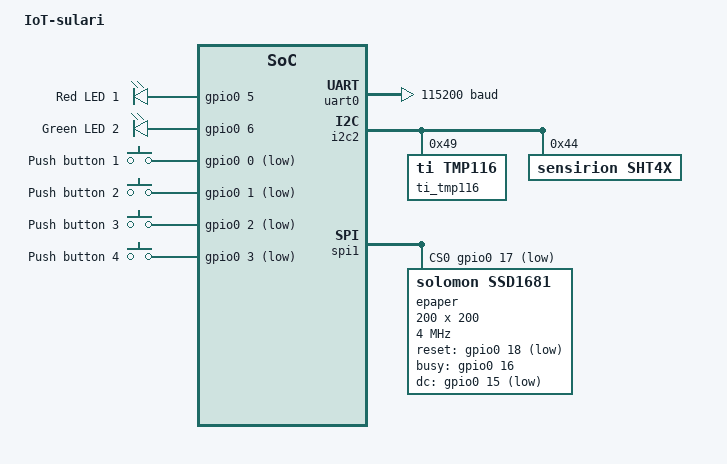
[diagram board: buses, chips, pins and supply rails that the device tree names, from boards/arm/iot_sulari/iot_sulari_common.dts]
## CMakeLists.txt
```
# SPDX-License-Identifier: Apache-2.0

cmake_minimum_required(VERSION 3.20.0)
find_package(Zephyr REQUIRED HINTS $ENV{ZEPHYR_BASE})
project(IoT_Sulari)

zephyr_include_directories(include)

target_sources(app PRIVATE src/main.c)
target_sources(app PRIVATE src/sensors.c)
target_sources(app PRIVATE src/buttons.c)
target_sources(app PRIVATE src/lte.c)
target_sources(app PRIVATE src/mqtt_connection.c)
target_sources(app PRIVATE src/sms_wrapper.c)
```

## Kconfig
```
source "Kconfig.zephyr"

menu "IoT-Sulari"
rsource "drivers/Kconfig"

config MQTT_PUB_TOPIC
    string "MQTT publish topic"
    default "devacademy/publish/topic"

config MQTT_SUB_TOPIC
    string "MQTT subscribe topic"
    default "devacademy/subscribe/topic"

config MQTT_CLIENT_ID
    string "MQTT Client ID"
    help
      Use a custom Client ID string. If not set, the client ID will be
      generated based on IMEI number (for nRF9160 based targets) or
      randomly (for other platforms).
    default ""

config MQTT_BROKER_HOSTNAME
    string "MQTT broker hostname"
    default "test.mosquitto.org"

config MQTT_BROKER_PORT
    int "MQTT broker port"
    default 1883

config MQTT_MESSAGE_BUFFER_SIZE
    int "MQTT message buffer size"
    default 128

config MQTT_PAYLOAD_BUFFER_SIZE
    int "MQTT payload buffer size"
    default 128

config BUTTON_EVENT_PUBLISH_MSG
    string "The message to publish on a button event"
    default "Hi from the nRF9160 SiP"

config MQTT_RECONNECT_DELAY_S
    int "Seconds to delay before attempting to reconnect to the broker."
    default 60

config SMS_RECEIVER_NUMBER
    string "Phone number in international format where the SMS message is sent"
    default ""
endmenu
```

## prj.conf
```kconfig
CONFIG_GPIO=y

CONFIG_SERIAL=y

# I2C and Sensors
CONFIG_I2C=y
CONFIG_SENSOR=y
CONFIG_CBPRINTF_FP_SUPPORT=y
CONFIG_CBPRINTF_LIBC_SUBSTS=y

# Display
CONFIG_SPI=y
CONFIG_DISPLAY=y
CONFIG_SSD16XX=y
CONFIG_DISPLAY_LOG_LEVEL_DBG=y

# LVGL
CONFIG_LVGL=y
CONFIG_LV_USE_LOG=y
CONFIG_LV_USE_LABEL=y
CONFIG_LV_USE_BTN=y
CONFIG_LV_FONT_MONTSERRAT_14=y
CONFIG_LV_Z_VDB_SIZE=64
CONFIG_LV_COLOR_DEPTH_1=y

# Logging
CONFIG_LOG=y

# Network
CONFIG_NETWORKING=y
CONFIG_NET_NATIVE=n
CONFIG_NET_SOCKETS=y
CONFIG_NET_SOCKETS_OFFLOAD=y
CONFIG_NET_SOCKETS_POSIX_NAMES=y

# Memory
CONFIG_HEAP_MEM_POOL_SIZE=4096
CONFIG_MAIN_STACK_SIZE=8192

# Modem library
CONFIG_NRF_MODEM_LIB=y
CONFIG_NRF_MODEM_LIB_TRACE=n

# LTE link control
CONFIG_LTE_LINK_CONTROL=y

# AT commands interface
CONFIG_AT_HOST_LIBRARY=y
CONFIG_UART_INTERRUPT_DRIVEN=y

# MQTT
CONFIG_MQTT_LIB=y
CONFIG_MQTT_CLEAN_SESSION=y

# MQTT Application information
CONFIG_MQTT_PUB_TOPIC="iot-sulari/publish/sensor-values"
CONFIG_MQTT_SUB_TOPIC="iot-sulari/subscribe/test"
CONFIG_MQTT_BROKER_HOSTNAME="test.mosquitto.org"
CONFIG_MQTT_BROKER_PORT=1883

# Debug options
CONFIG_DEBUG_OPTIMIZATIONS=y
CONFIG_DEBUG_THREAD_INFO=y
CONFIG_SPI_LOG_LEVEL_INF=y

# SMS
CONFIG_SMS=y
CONFIG_SMS_SUBSCRIBERS_MAX_CNT=1
CONFIG_SMS_RECEIVER_NUMBER="358400217146"
```

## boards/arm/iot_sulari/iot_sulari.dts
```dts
// Copyright (c) 2023 Nordic Semiconductor ASA
// SPDX-License-Identifier: Apache-2.0

/dts-v1/;
#include <nordic/nrf9160ns_sica.dtsi>
#include "iot_sulari_common.dts"

/ {
	chosen {
		zephyr,sram = &sram0;
		zephyr,flash = &flash0;
		zephyr,code-partition = &slot0_ns_partition;
	};
};

&flash0 {
	partitions {
		compatible = "fixed-partitions";
		#address-cells = <1>;
		#size-cells = <1>;

		boot_partition: partition@0 {
			label = "mcuboot";
			reg = <0x0 0x10000>;
		};
		slot0_partition: partition@10000 {
			label = "image-0";
			reg = <0x10000 0x40000>;
		};
		slot0_ns_partition: partition@50000 {
			label = "image-0-nonsecure";
			reg = <0x50000 0x30000>;
		};
		slot1_partition: partition@80000 {
			label = "image-1";
			reg = <0x80000 0x40000>;
		};
		slot1_ns_partition: partition@c0000 {
			label = "image-1-nonsecure";
			reg = <0xc0000 0x30000>;
		};
		scratch_partition: partition@f0000 {
			label = "image-scratch";
			reg = <0xf0000 0xa000>;
		};
		storage_partition: partition@fa000 {
			label = "storage";
			reg = <0xfa000 0x6000>;
		};
	};
};
```

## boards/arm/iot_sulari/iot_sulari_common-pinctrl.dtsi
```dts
/*
 * Copyright (c) 2022 Nordic Semiconductor
 * SPDX-License-Identifier: Apache-2.0
 */

&pinctrl {
	uart0_default: uart0_default {
		group1 {
			psels = <NRF_PSEL(UART_TX, 0, 10)>,
				<NRF_PSEL(UART_RTS, 0, 8)>;
		};
		group2 {
			psels = <NRF_PSEL(UART_RX, 0, 9)>,
				<NRF_PSEL(UART_CTS, 0, 11)>;
			bias-pull-up;
		};
	};

	uart0_sleep: uart0_sleep {
		group1 {
			psels = <NRF_PSEL(UART_TX, 0, 10)>,
				<NRF_PSEL(UART_RX, 0, 9)>,
				<NRF_PSEL(UART_RTS, 0, 8)>,
				<NRF_PSEL(UART_CTS, 0, 11)>;
			low-power-enable;
		};
	};

	i2c2_default: i2c2_default {
		group1 {
			psels = <NRF_PSEL(TWIM_SDA, 0, 27)>,
				<NRF_PSEL(TWIM_SCL, 0, 28)>;
		};
	};

	i2c2_sleep: i2c2_sleep {
		group1 {
			psels = <NRF_PSEL(TWIM_SDA, 0, 27)>,
				<NRF_PSEL(TWIM_SCL, 0, 28)>;
			low-power-enable;
		};
	};

	spi1_default: spi1_default {
        group1 {
            psels = <NRF_PSEL(SPIM_SCK, 0, 14)>,
                    <NRF_PSEL(SPIM_MOSI, 0, 13)>;
        };
    };

    spi1_sleep: spi1_sleep {
        group1 {
            psels = <NRF_PSEL(SPIM_SCK, 0, 14)>,
                    <NRF_PSEL(SPIM_MOSI, 0, 13)>;
            low-power-enable;
      };
    };
};
```

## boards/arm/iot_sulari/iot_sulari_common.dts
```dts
// Copyright (c) 2023 Nordic Semiconductor ASA
// SPDX-License-Identifier: Apache-2.0

 #include "iot_sulari_common-pinctrl.dtsi"

/ {
    model = "IoT-sulari";
    compatible = "vjr-oy,iot-sulari";

    chosen {
        zephyr,console = &uart0;
        zephyr,shell-uart = &uart0;
        zephyr,uart-mcumgr = &uart0;
        zephyr,display = &epaper;
    };

    leds {
        compatible = "gpio-leds";
        led0: led_0 {
            gpios = <&gpio0 5 0>;
            label = "Red LED 1";
        };
        led1: led_1 {
            gpios = <&gpio0 6 0>;
            label = "Green LED 2";
        };
    };

    buttons {
        compatible = "gpio-keys";
        button0: button_0 {
            gpios = <&gpio0 0 (GPIO_PULL_UP | GPIO_ACTIVE_LOW)>;
            label = "Push button 1";
        };
        button1: button_1 {
            gpios = <&gpio0 1 (GPIO_PULL_UP | GPIO_ACTIVE_LOW)>;
            label = "Push button 2";
        };
        button2: button_2 {
            gpios = <&gpio0 2 (GPIO_PULL_UP | GPIO_ACTIVE_LOW)>;
            label = "Push button 3";
        };
        button3: button_3 {
            gpios = <&gpio0 3 (GPIO_PULL_UP | GPIO_ACTIVE_LOW)>;
            label = "Push button 4";
        };
    };

    /* These aliases are provided for compatibility with samples */
    aliases {
        led0 = &led0;
        led1 = &led1;
        sw0 = &button0;
        sw1 = &button1;
        sw2 = &button2;
        sw3 = &button3;
        bootloader-led0 = &led0;
        mcuboot-button0 = &button0;
        mcuboot-led0 = &led0;
    };
};

&gpiote {
    status= "okay";
};

&gpio0 {
    status = "okay";
};

&uart0 {
    status = "okay";
    current-speed = <115200>;
    pinctrl-0 = <&uart0_default>;
    pinctrl-1 = <&uart0_sleep>;
    pinctrl-names = "default", "sleep";
};

&i2c2 {
    compatible = "nordic,nrf-twim";
    status = "okay";
    pinctrl-0 = <&i2c2_default>;
    pinctrl-1 = <&i2c2_sleep>;
    pinctrl-names = "default", "sleep";

    ti_tmp116: ti_tmp116@49 {
        compatible = "ti,tmp116";
        reg = <0x49>;
        #address-cells = <1>;
        #size-cells = <0>;

        eeprom: ti_tmp116_eeprom@0{
            compatible = "ti,tmp116-eeprom";
            reg = <0x0>;
            read-only;
        };
    };

    sht4x@44 {
        status= "okay";
        compatible = "sensirion,sht4x";
        reg = <0x44>;
        repeatability = <2>;
    };
};

&spi1 {
    compatible = "nordic,nrf-spim";
    status = "okay";
    pinctrl-0 = <&spi1_default>;
    pinctrl-1 = <&spi1_sleep>;
    pinctrl-names = "default", "sleep";
    cs-gpios = <&gpio0 17 (GPIO_ACTIVE_LOW | GPIO_PULL_UP)>;

    epaper: ssd16xxfb@0{
        compatible ="solomon,ssd1681";
        spi-max-frequency = < 4000000 >;
        status = "okay";
        reg = <0>;
        width = <200>;
        height = <200>;
        reset-gpios = <&gpio0 18 (GPIO_ACTIVE_LOW | GPIO_PULL_UP)>;
        busy-gpios = <&gpio0 16 (GPIO_ACTIVE_HIGH | GPIO_PULL_UP)>;
        dc-gpios = <&gpio0 15 (GPIO_ACTIVE_LOW | GPIO_PULL_UP)>;

        tssv = <0x80>;
/*
        full {
            border-waveform = <0x05>;
        };

        partial {
            border-waveform = <0x3c>;
        };
        */
    };
};
```

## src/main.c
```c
#include <stdio.h>
#include <string.h>

#include <zephyr/kernel.h>
#include <zephyr/logging/log.h>
#include <zephyr/net/socket.h>
#include <zephyr/net/mqtt.h>

#include <lvgl.h>
#include <zephyr/drivers/display.h>

#include "sensors.h"
#include "buttons.h"
#include "lte.h"
#include "mqtt_connection.h"
#include "sms_wrapper.h"

#define TEMP_LIMIT                  30.0

#define SENSOR_THREAD_PRIORITY      7
#define COMM_THREAD_PRIORITY        9
#define DISPLAY_THREAD_PRIORITY     8

#define SENSOR_THREAD_STACKSIZE     (1024 * 2)
#define COMM_THREAD_STACKSIZE       (1024 * 2)
#define DISPLAY_THREAD_STACKSIZE    (1024 * 4)

#define SENSOR_THREAD_SLEEP_MS      (1000*5)
#define COMM_THREAD_SLEEP_MS        (1000*30)
#define DISPLAY_THREAD_SLEEP_MS     (1000*5)


// Thread declarations
int sensor_thread(void);
int comm_thread(void);
int display_thread(void);

K_THREAD_DEFINE(sensor_thread_id, SENSOR_THREAD_STACKSIZE, sensor_thread,
                NULL, NULL, NULL, SENSOR_THREAD_PRIORITY, 0, 0);
K_THREAD_DEFINE(comm_thread_id, COMM_THREAD_STACKSIZE, comm_thread,
                NULL, NULL, NULL, COMM_THREAD_PRIORITY, 0, 10000);
K_THREAD_DEFINE(display_thread_id, DISPLAY_THREAD_STACKSIZE, display_thread,
                NULL, NULL, NULL, DISPLAY_THREAD_PRIORITY, 0, 0);

LOG_MODULE_REGISTER(MAIN, LOG_LEVEL_DBG);

static struct mqtt_client mqtt_client;
static struct pollfd fds;

double temp, humidity;

int sensor_thread(void)
{
    LOG_INF("Sensor thread started");
    sensors_init();

    while(true)
    {
        temp = get_temperature();
        humidity = get_humidity();

        if (temp > TEMP_LIMIT) 
        {
            sms_send_temp_alert(temp);
            k_msleep(SENSOR_THREAD_SLEEP_MS*20);
        }

        k_msleep(SENSOR_THREAD_SLEEP_MS);
    }
}

int comm_thread(void)
{
    LOG_INF("Communications thread started");

    int err;
    uint32_t connect_attempt = 0;
    char mqtt_msg[31];

    if (lte_modem_configure())
    {
        LOG_ERR("Failed to configure modem");
        return 0;
    }

    if (sms_init())
    {
        LOG_ERR("Initializing SMS failed");
    }

    if (mqtt_client_init_wrapper(&mqtt_client))
    {
        LOG_ERR("Failed to initialize MQTT client");
        return 0;
    }

do_connect:
    if (connect_attempt++ > 0)
    {
        LOG_INF("Reconnecting in %d seconds..", CONFIG_MQTT_RECONNECT_DELAY_S);
        k_sleep(K_SECONDS(CONFIG_MQTT_RECONNECT_DELAY_S));
    }

    if (mqtt_connect(&mqtt_client))
    {
        LOG_ERR("Error in mqtt_connect");
        goto do_connect;
    }

    // Used by MQTT polling
    if (mqtt_fds_init(&mqtt_client, &fds))
    {
        LOG_ERR("Error in fds_init.");
        return 0;
    }

    while(true)
    {

        // Format MQTT message and show it
        snprintfcb(mqtt_msg, sizeof(mqtt_msg), 
                   "Temp: %.2fC, Humidity: %.2f%%", temp, humidity);

        LOG_INF("%s", mqtt_msg);

        // MQTT related things to have connection alive and 
        // poll for received MQTT messages
        err = poll(&fds, 1, mqtt_keepalive_time_left(&mqtt_client));
        if (err < 0) {
            LOG_ERR("Error in poll(): %d", errno);
            break;
        }

        err = mqtt_live(&mqtt_client);
        if ((err != 0) && (err != -EAGAIN)) {
            LOG_ERR("Error in mqtt_live: %d", err);
            break;
        }

        if ((fds.revents & POLLIN) == POLLIN) {
            err = mqtt_input(&mqtt_client);
            if (err != 0) {
                LOG_ERR("Error in mqtt_input: %d", err);
                break;
            }
        }

        if ((fds.revents & POLLERR) == POLLERR) {
            LOG_ERR("POLLERR");
            break;
        }

        if ((fds.revents & POLLNVAL) == POLLNVAL) {
            LOG_ERR("POLLNVAL");
            break;
        }

        // Send the sensor data to MQTT broker
        if (mqtt_data_publish(&mqtt_client, MQTT_QOS_1_AT_LEAST_ONCE,
                              mqtt_msg, sizeof(mqtt_msg)))
        {
            LOG_ERR("Failed to send MQTT message");
        }

        k_msleep(COMM_THREAD_SLEEP_MS);

    }

    LOG_INF("Disconnecting MQTT client");

    err = mqtt_disconnect(&mqtt_client);
    if (err) {
        LOG_ERR("Could not disconnect MQTT client: %d", err);
    }
    goto do_connect;
}

int display_thread(void)
{
    LOG_INF("Display thread started");

    const struct device *display_dev;
    lv_obj_t *hello_world_label;
    lv_obj_t *measurement_label;

    char count_str[19] = {0};

    display_dev = DEVICE_DT_GET(DT_CHOSEN(zephyr_display));
    if (!device_is_ready(display_dev))
    {
        LOG_ERR("Display not ready");
    }

    hello_world_label = lv_label_create(lv_scr_act());
    measurement_label = lv_label_create(lv_scr_act());

    lv_label_set_text(hello_world_label, "IoT sulari");
    lv_label_set_text(measurement_label, "");

    lv_obj_align(hello_world_label, LV_ALIGN_TOP_MID, 0, 0);
    lv_obj_align(measurement_label, LV_ALIGN_CENTER, 0, 0);

    lv_task_handler();
    display_blanking_off(display_dev);

    while(true)
    {

        sprintf(count_str, "%.02f°C   %.02f%%", temp, humidity);
        lv_label_set_text(measurement_label, count_str);

        lv_task_handler();

        k_msleep(DISPLAY_THREAD_SLEEP_MS);
    }
}

int main(void)
{
    /* Initialize IRS things */
    buttons_init();
    return 0;
}
```

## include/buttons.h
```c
#ifndef _BUTTONS_H_
#define _BUTTONS_H_

/* Functions */
void buttons_init();

#endif //_BUTTONS_H_
```

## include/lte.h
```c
#ifndef _LTE_H_
#define _LTE_H_

int lte_modem_configure();

#endif // _LTE_H_
```

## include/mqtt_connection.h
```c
#ifndef _MQTTCONNECTION_H_
#define _MQTTCONNECTION_H_
#define IMEI_LEN 15
#define CGSN_RESPONSE_LENGTH (IMEI_LEN + 6 + 1) /* Add 6 for \r\nOK\r\n and 1 for \0 */
#define CLIENT_ID_LEN sizeof("nrf-") + IMEI_LEN

/**@brief Initialize the MQTT client structure
 */
int mqtt_client_init_wrapper(struct mqtt_client *client);

/**@brief Initialize the file descriptor structure used by poll.
 */
int mqtt_fds_init(struct mqtt_client *c, struct pollfd *fds);

/**@brief Function to publish data on the configured topic
 */
int mqtt_data_publish(struct mqtt_client *c, enum mqtt_qos qos,
	uint8_t *data, size_t len);

#endif /* _CONNECTION_H_ */
```

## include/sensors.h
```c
#ifndef _SENSORS_H_
#define _SENSORS_H_

/* Functions*/
void sensors_init();
double get_temperature();
double get_humidity();

#endif // _SENSORS_H_
```

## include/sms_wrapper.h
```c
#ifndef _SMS_WRAPPER_H_
#define _SMS_WRAPPER_H_

/* Functions */

int sms_init();
int sms_send_temp_alert(double temperature);

#endif // _SMS_WRAPPER_H_
```

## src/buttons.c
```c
#include <zephyr/device.h>
#include <zephyr/devicetree.h>
#include <zephyr/drivers/gpio.h>
#include <zephyr/logging/log.h>

#include "buttons.h"
#include "sms_wrapper.h"
#include "sensors.h"

#define SW0_NODE    DT_ALIAS(sw0)
#define SW1_NODE    DT_ALIAS(sw1)
#define SW2_NODE    DT_ALIAS(sw2)
#define SW3_NODE    DT_ALIAS(sw3)

LOG_MODULE_REGISTER(BUTTONS, LOG_LEVEL_DBG);

static const struct gpio_dt_spec button0 = GPIO_DT_SPEC_GET(SW0_NODE, gpios);
static const struct gpio_dt_spec button1 = GPIO_DT_SPEC_GET(SW1_NODE, gpios);
static const struct gpio_dt_spec button2 = GPIO_DT_SPEC_GET(SW2_NODE, gpios);
static const struct gpio_dt_spec button3 = GPIO_DT_SPEC_GET(SW3_NODE, gpios);

static struct gpio_callback button0_cb_data;
static struct gpio_callback button1_cb_data;
static struct gpio_callback button2_cb_data;
static struct gpio_callback button3_cb_data;

static void button0_cb(const struct device *dev, struct gpio_callback *cb, uint32_t pins)
{
    LOG_INF("Button 0 pressed.");
}

static void button1_cb(const struct device *dev, struct gpio_callback *cb, uint32_t pins)
{
    LOG_INF("Button 1 pressed.");
}

static void button2_cb(const struct device *dev, struct gpio_callback *cb, uint32_t pins)
{
    LOG_INF("Button 2 pressed.");
}

static void button3_cb(const struct device *dev, struct gpio_callback *cb, uint32_t pins)
{
    LOG_INF("Button 3 pressed.");
}

void buttons_init(void)
{
    int ret;

    if (!device_is_ready(button0.port)) {
        return;
    }

    if (!device_is_ready(button1.port)) {
        return;
    }

    if (!device_is_ready(button2.port)) {
        return;
    }

    if (!device_is_ready(button3.port)) {
        return;
    }

    ret = gpio_pin_configure_dt(&button0, GPIO_INPUT);
	if (ret < 0) {
		return;
	}

    ret = gpio_pin_configure_dt(&button1, GPIO_INPUT);
	if (ret < 0) {
		return;
	}

    ret = gpio_pin_configure_dt(&button2, GPIO_INPUT);
	if (ret < 0) {
		return;
	}

    ret = gpio_pin_configure_dt(&button3, GPIO_INPUT);
	if (ret < 0) {
		return;
	}

    ret = gpio_pin_interrupt_configure_dt(&button0, GPIO_INT_EDGE_TO_ACTIVE );
    ret = gpio_pin_interrupt_configure_dt(&button1, GPIO_INT_EDGE_TO_ACTIVE );
    ret = gpio_pin_interrupt_configure_dt(&button2, GPIO_INT_EDGE_TO_ACTIVE );
    ret = gpio_pin_interrupt_configure_dt(&button3, GPIO_INT_EDGE_TO_ACTIVE );

    gpio_init_callback(&button0_cb_data, button0_cb, BIT(button0.pin)); 	
    gpio_init_callback(&button1_cb_data, button1_cb, BIT(button1.pin)); 	
    gpio_init_callback(&button2_cb_data, button2_cb, BIT(button2.pin)); 	
    gpio_init_callback(&button3_cb_data, button3_cb, BIT(button3.pin)); 	

    gpio_add_callback(button0.port, &button0_cb_data);
    gpio_add_callback(button1.port, &button1_cb_data);
    gpio_add_callback(button2.port, &button2_cb_data);
    gpio_add_callback(button3.port, &button3_cb_data);
}
```

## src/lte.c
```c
#include <modem/nrf_modem_lib.h>
#include <modem/lte_lc.h>
#include <zephyr/logging/log.h>

LOG_MODULE_REGISTER(LTE, LOG_LEVEL_DBG);

K_SEM_DEFINE(lte_connected, 0, 1);

/* Private functions */

static void lte_handler(const struct lte_lc_evt *const evt)
{
    switch (evt->type)
    {
    case LTE_LC_EVT_NW_REG_STATUS:
        if ((evt->nw_reg_status != LTE_LC_NW_REG_REGISTERED_HOME) &&
            (evt->nw_reg_status != LTE_LC_NW_REG_REGISTERED_ROAMING))
        {
            break;
        }

        LOG_INF("Network registration status: %s",
            evt->nw_reg_status == LTE_LC_NW_REG_REGISTERED_HOME ? 
            "Connected - Home network" : "Connected - Roaming");
        k_sem_give(&lte_connected);
        break;
    case LTE_LC_EVT_RRC_UPDATE:
        LOG_INF("RRC mode: %s", evt->rrc_mode == LTE_LC_RRC_MODE_CONNECTED ? 
                "Connected" : "Idle");
        break;		
    default:
        break;
    }
}

/* Public functions */

int lte_modem_configure(void)
{
    int err;

    LOG_INF("Initializing modem library");

    err = nrf_modem_lib_init();
    if (err) {
		LOG_ERR("Failed to initialize the modem library, error: %d", err);
		return err;
	}

    LOG_INF("Connecting to LTE network");

	err = lte_lc_connect_async(lte_handler);
	if (err) {
		LOG_ERR("Modem could not be configured, error: %d", err);
		return err;
	}

    k_sem_take(&lte_connected, K_FOREVER);
    LOG_INF("Connected to LTE network");

	return 0;
}
```

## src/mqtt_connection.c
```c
#include <stdio.h>
#include <string.h>

#include <nrf_modem_at.h>
#include <zephyr/kernel.h>
#include <zephyr/random/random.h>
#include <zephyr/net/socket.h>
#include <zephyr/net/mqtt.h>
#include <zephyr/logging/log.h>
#include "mqtt_connection.h"

/* Buffers for MQTT client. */
static uint8_t rx_buffer[CONFIG_MQTT_MESSAGE_BUFFER_SIZE];
static uint8_t tx_buffer[CONFIG_MQTT_MESSAGE_BUFFER_SIZE];
static uint8_t payload_buf[CONFIG_MQTT_PAYLOAD_BUFFER_SIZE];

/* MQTT Broker details. */
static struct sockaddr_storage broker;

LOG_MODULE_REGISTER(MQTT_CONNECTION, LOG_LEVEL_DBG);

/* Private functions */

/**@brief Function to get the payload of recived data.
 */
static int get_received_payload(struct mqtt_client *c, size_t length)
{
    int ret;
    int err = 0;

    /* Return an error if the payload is larger than the payload buffer.
     * Note: To allow new messages, we have to read the payload before returning.
     */
    if (length > sizeof(payload_buf)) {
        err = -EMSGSIZE;
    }

    /* Truncate payload until it fits in the payload buffer. */
    while (length > sizeof(payload_buf)) {
        ret = mqtt_read_publish_payload_blocking(
                c, payload_buf, (length - sizeof(payload_buf)));
        if (ret == 0) {
            return -EIO;
        } else if (ret < 0) {
            return ret;
        }

        length -= ret;
    }

    ret = mqtt_readall_publish_payload(c, payload_buf, length);
    if (ret) {
        return ret;
    }

    return err;
}

/**@brief Function to subscribe to the configured topic
 */
static int subscribe(struct mqtt_client *const c)
{
    struct mqtt_topic subscribe_topic = {
        .topic = {
            .utf8 = CONFIG_MQTT_SUB_TOPIC,
            .size = strlen(CONFIG_MQTT_SUB_TOPIC)
        },
        .qos = MQTT_QOS_1_AT_LEAST_ONCE
    };

    const struct mqtt_subscription_list subscription_list = {
        .list = &subscribe_topic,
        .list_count = 1,
        .message_id = 1234
    };

    LOG_INF("Subscribing to: %s len %u", CONFIG_MQTT_SUB_TOPIC,
        (unsigned int)strlen(CONFIG_MQTT_SUB_TOPIC));

    return mqtt_subscribe(c, &subscription_list);
}

/**@brief Function to print strings without null-termination
 */
static void data_print(uint8_t *prefix, uint8_t *data, size_t len)
{
    char buf[len + 1];

    memcpy(buf, data, len);
    buf[len] = 0;
    LOG_INF("%s%s", (char *)prefix, (char *)buf);
}

/**@brief MQTT client event handler
 */
void mqtt_evt_handler(struct mqtt_client *const c,
              const struct mqtt_evt *evt)
{
    int err;

    switch (evt->type) {
    case MQTT_EVT_CONNACK:
        if (evt->result != 0) {
            LOG_ERR("MQTT connect failed: %d", evt->result);
            break;
        }

        LOG_INF("MQTT client connected");
        subscribe(c);
        break;

    case MQTT_EVT_DISCONNECT:
        LOG_INF("MQTT client disconnected: %d", evt->result);
        break;

    case MQTT_EVT_PUBLISH:
    {
        const struct mqtt_publish_param *p = &evt->param.publish;
        //Print the length of the recived message 
        LOG_INF("MQTT PUBLISH result=%d len=%d",
            evt->result, p->message.payload.len);

        //Extract the data of the recived message 
        err = get_received_payload(c, p->message.payload.len);
        
        //Send acknowledgment to the broker on receiving QoS1 publish message 
        if (p->message.topic.qos == MQTT_QOS_1_AT_LEAST_ONCE) {
            const struct mqtt_puback_param ack = {
                .message_id = p->message_id
            };

            /* Send acknowledgment. */
            mqtt_publish_qos1_ack(c, &ack);
        }

        if (err >= 0) {
            data_print("Received: ", payload_buf, p->message.payload.len);
            /* There could be something more to process */

        // Payload buffer is smaller than the received data 
        } else if (err == -EMSGSIZE) {
            LOG_ERR("Received payload (%d bytes) is larger than the payload buffer size (%d bytes).",
                p->message.payload.len, sizeof(payload_buf));
        // Failed to extract data, disconnect 
        } else {
            LOG_ERR("get_received_payload failed: %d", err);
            LOG_INF("Disconnecting MQTT client...");

            err = mqtt_disconnect(c);
            if (err) {
                LOG_ERR("Could not disconnect: %d", err);
            }
        }
    } break;

    case MQTT_EVT_PUBACK:
        if (evt->result != 0) {
            LOG_ERR("MQTT PUBACK error: %d", evt->result);
            break;
        }

        LOG_INF("PUBACK packet id: %u", evt->param.puback.message_id);
        break;

    case MQTT_EVT_SUBACK:
        if (evt->result != 0) {
            LOG_ERR("MQTT SUBACK error: %d", evt->result);
            break;
        }

        LOG_INF("SUBACK packet id: %u", evt->param.suback.message_id);
        break;

    case MQTT_EVT_PINGRESP:
        if (evt->result != 0) {
            LOG_ERR("MQTT PINGRESP error: %d", evt->result);
        }
        break;

    default:
        LOG_INF("Unhandled MQTT event type: %d", evt->type);
        break;
    }
}

/**@brief Resolves the configured hostname and
 * initializes the MQTT broker structure
 */
static int broker_init(void)
{
    int err;
    struct addrinfo *result;
    struct addrinfo *addr;
    struct addrinfo hints = {
        .ai_family = AF_INET,
        .ai_socktype = SOCK_STREAM
    };

    err = getaddrinfo(CONFIG_MQTT_BROKER_HOSTNAME, NULL, &hints, &result);
    if (err) {
        LOG_ERR("getaddrinfo failed: %d", err);
        return -ECHILD;
    }

    addr = result;

    /* Look for address of the broker. */
    while (addr != NULL) {
        /* IPv4 Address. */
        if (addr->ai_addrlen == sizeof(struct sockaddr_in)) {
            struct sockaddr_in *broker4 =
                ((struct sockaddr_in *)&broker);
            char ipv4_addr[NET_IPV4_ADDR_LEN];

            broker4->sin_addr.s_addr =
                ((struct sockaddr_in *)addr->ai_addr)
                ->sin_addr.s_addr;
            broker4->sin_family = AF_INET;
            broker4->sin_port = htons(CONFIG_MQTT_BROKER_PORT);

            inet_ntop(AF_INET, &broker4->sin_addr.s_addr,
                  ipv4_addr, sizeof(ipv4_addr));
            LOG_INF("IPv4 Address found %s", (char *)(ipv4_addr));

            break;
        } else {
            LOG_ERR("ai_addrlen = %u should be %u or %u",
                (unsigned int)addr->ai_addrlen,
                (unsigned int)sizeof(struct sockaddr_in),
                (unsigned int)sizeof(struct sockaddr_in6));
        }

        addr = addr->ai_next;
    }

    /* Free the address. */
    freeaddrinfo(result);

    return err;
}

/* Function to get the client id */
static const uint8_t* client_id_get(void)
{
    static uint8_t client_id[MAX(sizeof(CONFIG_MQTT_CLIENT_ID),
                     CLIENT_ID_LEN)];

    if (strlen(CONFIG_MQTT_CLIENT_ID) > 0) {
        snprintf(client_id, sizeof(client_id), "%s",
             CONFIG_MQTT_CLIENT_ID);
        goto exit;
    }

    char imei_buf[CGSN_RESPONSE_LENGTH + 1];
    int err;

    err = nrf_modem_at_cmd(imei_buf, sizeof(imei_buf), "AT+CGSN");
    if (err) {
        LOG_ERR("Failed to obtain IMEI, error: %d", err);
        goto exit;
    }

    imei_buf[IMEI_LEN] = '\0';

    snprintf(client_id, sizeof(client_id), "nrf-%.*s", IMEI_LEN, imei_buf);

exit:
    LOG_DBG("client_id = %s", (char *)(client_id));

    return client_id;
}

/* Public functions */

/**@brief Initialize the MQTT client structure
 */
int mqtt_client_init_wrapper(struct mqtt_client *client)
{
    int err;
    /* Initializes the client instance. */
    mqtt_client_init(client);

    /* Resolves the configured hostname and initializes the MQTT broker structure */
    err = broker_init();
    if (err) {
        LOG_ERR("Failed to initialize broker connection");
        return err;
    }

    /* MQTT client configuration */
    client->broker = &broker;
    client->evt_cb = mqtt_evt_handler;
    client->client_id.utf8 = client_id_get();
    client->client_id.size = strlen(client->client_id.utf8);
    client->password = NULL;
    client->user_name = NULL;
    client->protocol_version = MQTT_VERSION_3_1_1;

    /* MQTT buffers configuration */
    client->rx_buf = rx_buffer;
    client->rx_buf_size = sizeof(rx_buffer);
    client->tx_buf = tx_buffer;
    client->tx_buf_size = sizeof(tx_buffer);

    /* We are not using TLS in Exercise 1 */
    client->transport.type = MQTT_TRANSPORT_NON_SECURE;

    LOG_DBG("MQTT initialized");

    return err;
}

/**@brief Initialize the file descriptor structure used by poll.
 */
int mqtt_fds_init(struct mqtt_client *c, struct pollfd *fds)
{
    if (c->transport.type == MQTT_TRANSPORT_NON_SECURE) {
        fds->fd = c->transport.tcp.sock;
    } else {
        return -ENOTSUP;
    }

    fds->events = POLLIN;

    return 0;
}

/**@brief Function to publish data on the configured topic
 */
int mqtt_data_publish(struct mqtt_client *c, enum mqtt_qos qos,
    uint8_t *data, size_t len)
{
    struct mqtt_publish_param param;

    param.message.topic.qos = qos;
    param.message.topic.topic.utf8 = CONFIG_MQTT_PUB_TOPIC;
    param.message.topic.topic.size = strlen(CONFIG_MQTT_PUB_TOPIC);
    param.message.payload.data = data;
    param.message.payload.len = len;
    param.message_id = sys_rand32_get();
    param.dup_flag = 0;
    param.retain_flag = 0;

    data_print("Publishing: ", data, len);
    LOG_INF("to topic: %s len: %u",
        CONFIG_MQTT_PUB_TOPIC,
        (unsigned int)strlen(CONFIG_MQTT_PUB_TOPIC));

    return mqtt_publish(c, &param);
}
```

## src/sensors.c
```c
#include <zephyr/drivers/sensor.h>
#include <zephyr/drivers/sensor/tmp116.h>
#include <zephyr/drivers/sensor/sht4x.h>
#include <zephyr/device.h>
#include <zephyr/logging/log.h>
#include <zephyr/sys/__assert.h>

#include "sensors.h"

#define TMP116_NODE     DT_COMPAT_GET_ANY_STATUS_OKAY(ti_tmp116)
#define SHT4X_NODE      DT_COMPAT_GET_ANY_STATUS_OKAY(sensirion_sht4x)

LOG_MODULE_REGISTER(SENSORS, LOG_LEVEL_ERR);

/* Private data*/
static const struct device *tmp116 = DEVICE_DT_GET(TMP116_NODE);
static const struct device *sht4x  = DEVICE_DT_GET(SHT4X_NODE);

/* Private functions*/

/* Public functions*/

void sensors_init()
{
    if(!device_is_ready(tmp116))
    {
        LOG_ERR("TMP116 is not ready");
        __ASSERT(0, "TMP116 is not ready");
    }

    if(!device_is_ready(sht4x))
    {
        LOG_ERR("SHT4X is not ready");
        __ASSERT(0, "SHT4X is not ready");
    }
}

double get_temperature()
{
    struct sensor_value temperature;

    if (sensor_sample_fetch(tmp116))
    {
        LOG_ERR("Failed to fetch measurements from TMP116");
    }
    
    if (sensor_channel_get(tmp116, SENSOR_CHAN_AMBIENT_TEMP, &temperature))
    {
        LOG_ERR("Failed to get measurements from TMP116");
    }

    return sensor_value_to_double(&temperature);
}

double get_humidity()
{
    struct sensor_value humidity;

    if (sensor_sample_fetch(sht4x))
    {
        LOG_ERR("Failed to fetch measurements from SHT4X");
    }

    if (sensor_channel_get(sht4x, SENSOR_CHAN_HUMIDITY, &humidity))
    {
        LOG_ERR("Failed to get measurements from TMP116");
    }
    
    return sensor_value_to_double(&humidity);
}
```

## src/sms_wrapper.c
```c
#include <stdio.h>
#include <string.h>

#include <zephyr/logging/log.h>
#include <modem/sms.h>

LOG_MODULE_REGISTER(SMS_WRAPPER, LOG_LEVEL_INF);

BUILD_ASSERT(sizeof(CONFIG_SMS_RECEIVER_NUMBER) > 1, "SMS receiver number is empty");

/* Private functions */
static void sms_callback(struct sms_data *const data, void *context)
{
    if (data == NULL)
    {
        LOG_ERR("SMS data is NULL");
        return;
    }

    switch (data->type)
    {
    case SMS_TYPE_DELIVER:

        struct sms_deliver_header *header = &data->header.deliver;

        LOG_INF("\nReceived SMS message.");
        LOG_INF("\t Time:    %02d-%02d-%02d %02d:%02d:%02d",
            header->time.year,
            header->time.month,
            header->time.day,
            header->time.hour,
            header->time.minute,
            header->time.second);

        LOG_INF("\tText: '%s'", data->payload);
        LOG_INF("\tLenght: %d", data->payload_len);

        if (header->app_port.present) {
            LOG_INF("\tApplication port addressing scheme: dest_port=%d, src_port=%d",
                header->app_port.dest_port,
                header->app_port.src_port);
        }
        if (header->concatenated.present) {
            LOG_INF("\tConcatenated short message: ref_number=%d, msg %d/%d",
                header->concatenated.ref_number,
                header->concatenated.seq_number,
                header->concatenated.total_msgs);
        }
        break;
    case SMS_TYPE_STATUS_REPORT:
        LOG_INF("SMS status report received");
        break;
    default:
        LOG_INF("SMS protocol message with unkown type received"); 
    }
}

/* Public functions */
int sms_init()
{
    return sms_register_listener(sms_callback, NULL);
}

int sms_send_temp_alert(double temperature)
{
    int ret;
    char msg[SMS_MAX_PAYLOAD_LEN_CHARS];

    LOG_INF("Sending temperature warning");

    snprintfcb(msg, SMS_MAX_PAYLOAD_LEN_CHARS, 
               "Temperature alert has triggered. Temperature: %.2fC. -IoT-sulari",
               temperature);

    LOG_DBG("Sending SMS: number='%s' \nmsg='%s'",
             CONFIG_SMS_RECEIVER_NUMBER, msg);

    ret = sms_send_text(CONFIG_SMS_RECEIVER_NUMBER, msg);
    if (ret)
    {
        LOG_ERR("Sending SMS failed with error: %d", ret);
    }
    return ret;
}
```
